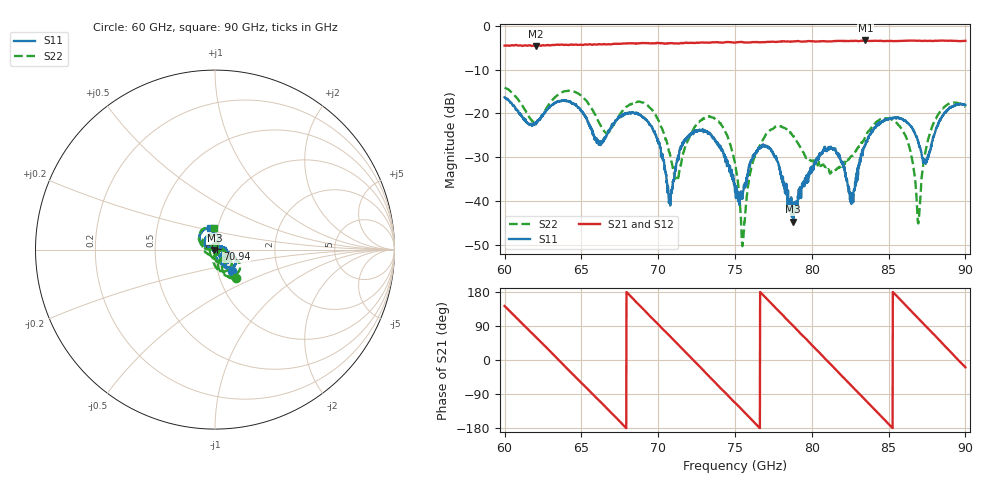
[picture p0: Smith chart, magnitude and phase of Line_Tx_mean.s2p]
!Keysight Technologies,N5242A,MY56023178,A.10.60.03
!Date: Tuesday, August 25, 2020 09:26:59
!Correction: S11(Full 2 Port(1,2))
!S21(Full 2 Port(1,2))
!S12(Full 2 Port(1,2))
!S22(Full 2 Port(1,2))
!S2P File: Measurements: S11, S21, S12, S22:
# Hz S  dB  R 50
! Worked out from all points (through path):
!   2001 points, 60 GHz to 90 GHz, reference 50 ohm
!   highest |S21| = -3.36 dB at 83.49 GHz (marker M1); lowest = -4.6 dB at 62.02 GHz (marker M2)
!   lowest |S11| = -44.7 dB at 78.8 GHz (marker M3), VSWR 1.01, Z = 49.7 - j0.482 ohm
!   |S11| at or under -10 dB: start of sweep to end of sweep
!   |S22| runs from -50.3 to -14.1 dB; largest |S21 - S12| = 0.021
!   S11 on the Smith chart (normalised r, x): 60 GHz: 1.17, -0.29; 70.94 GHz: 1.03, +0.00; 90 GHz: 0.92, +0.23
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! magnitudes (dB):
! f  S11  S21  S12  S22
! 60 GHz  -16.3  -4.5  -4.6  -14.1
! 62.02 GHz  -22.1  -4.6  -4.6  -22.0
! 65.01 GHz  -19.6  -4.4  -4.4  -16.0
! 66.61 GHz  -25.3  -4.3  -4.3  -24.4
! 68.46 GHz  -20.0  -4.0  -4.0  -17.5
! 70 GHz  -26.3  -4.0  -4.1  -21.6
! 70.94 GHz  -37.2  -4.0  -4.0  -32.0
! 72.78 GHz  -23.7  -3.8  -3.9  -21.6
! 75 GHz  -37.8  -3.9  -3.9  -31.3
! 75.53 GHz  -37.8  -3.8  -3.8  -49.1
! 76.03 GHz  -31.0  -3.8  -3.8  -32.8
! 76.75 GHz  -27.4  -3.8  -3.8  -26.3
! 78.8 GHz  -44.7  -3.6  -3.7  -25.2
! 80.01 GHz  -32.1  -3.5  -3.6  -30.8
! 81.39 GHz  -28.2  -3.5  -3.5  -33.3
! 82.59 GHz  -38.3  -3.5  -3.5  -29.7
! 83.49 GHz  -27.1  -3.4  -3.4  -25.2
! 85 GHz  -21.3  -3.5  -3.4  -21.1
! 86.23 GHz  -22.1  -3.4  -3.4  -26.3
! 86.94 GHz  -26.7  -3.4  -3.4  -45.1
! 87.97 GHz  -24.9  -3.4  -3.4  -21.9
! 90 GHz  -18.1  -3.4  -3.3  -18.6
